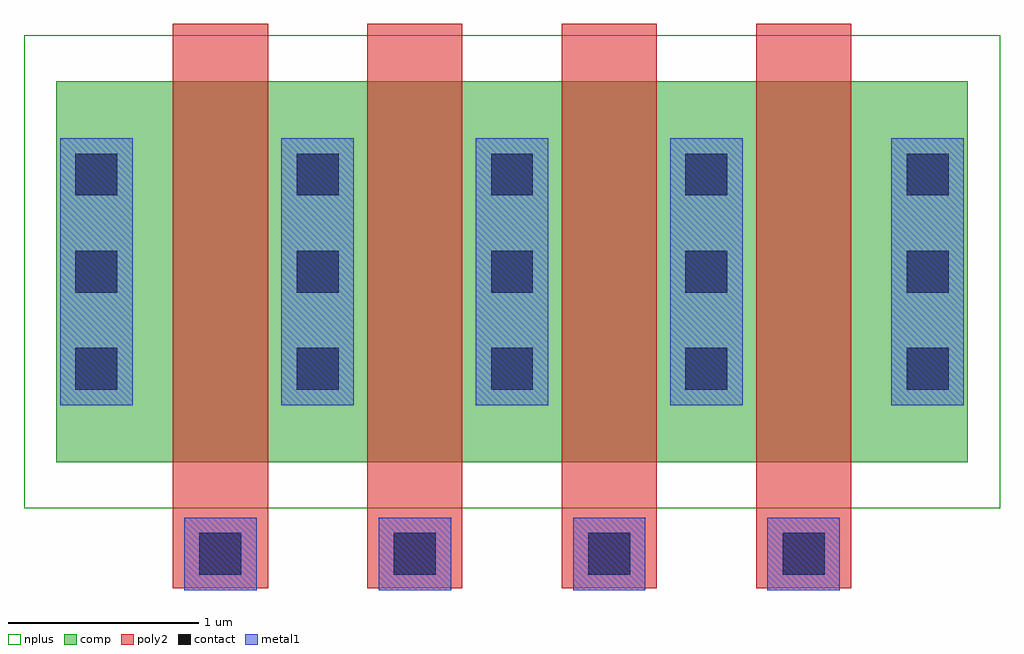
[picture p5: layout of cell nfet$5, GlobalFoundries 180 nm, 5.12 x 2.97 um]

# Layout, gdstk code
import gdstk
lib = gdstk.Library(unit=1e-6, precision=5e-09)
def R(c, l, rs):  # rectangles x0, y0, x1, y1
    for r in rs: c.add(gdstk.rectangle(r[:2], r[2:], *l))
def A(c, l, x, y, w, h, nx, ny, dx, dy):  # array of equal rectangles
    R(c, l, [(x+i*dx, y+j*dy, x+i*dx+w, y+j*dy+h) for i in range(nx) for j in range(ny)])
comp = (22, 0)
poly2 = (30, 0)
nplus = (32, 0)
contact = (33, 0)
metal1 = (34, 0)

nfet_5 = lib.new_cell('nfet$5')
R(nfet_5, comp, [(-0.42,0,0,2), (0,0,3.94,2), (3.94,0,4.36,2)])
A(nfet_5, poly2, 0.19, -0.66, 0.5, 0.36, 4, 1, 1.02, 0)
A(nfet_5, poly2, 0.19, -0.3, 0.5, 2.6, 4, 1, 1.02, 0)
R(nfet_5, nplus, [(-0.59,-0.24,4.53,2.24)])
A(nfet_5, contact, 0.33, -0.59, 0.22, 0.22, 4, 1, 1.02, 0)
A(nfet_5, contact, -0.32, 0.38, 0.22, 0.22, 1, 3, 0, 0.51)
A(nfet_5, contact, 0.84, 0.38, 0.22, 0.22, 3, 3, 1.02, 0.51)
A(nfet_5, contact, 4.04, 0.38, 0.22, 0.22, 1, 3, 0, 0.51)
A(nfet_5, metal1, 0.25, -0.67, 0.38, 0.38, 4, 1, 1.02, 0)
A(nfet_5, metal1, 0.76, 0.3, 0.38, 1.4, 3, 1, 1.02, 0)
R(nfet_5, metal1, [(-0.4,0.3,-0.02,1.7), (3.96,0.3,4.34,1.7)])

lib.write_gds('nfet_5.gds')
